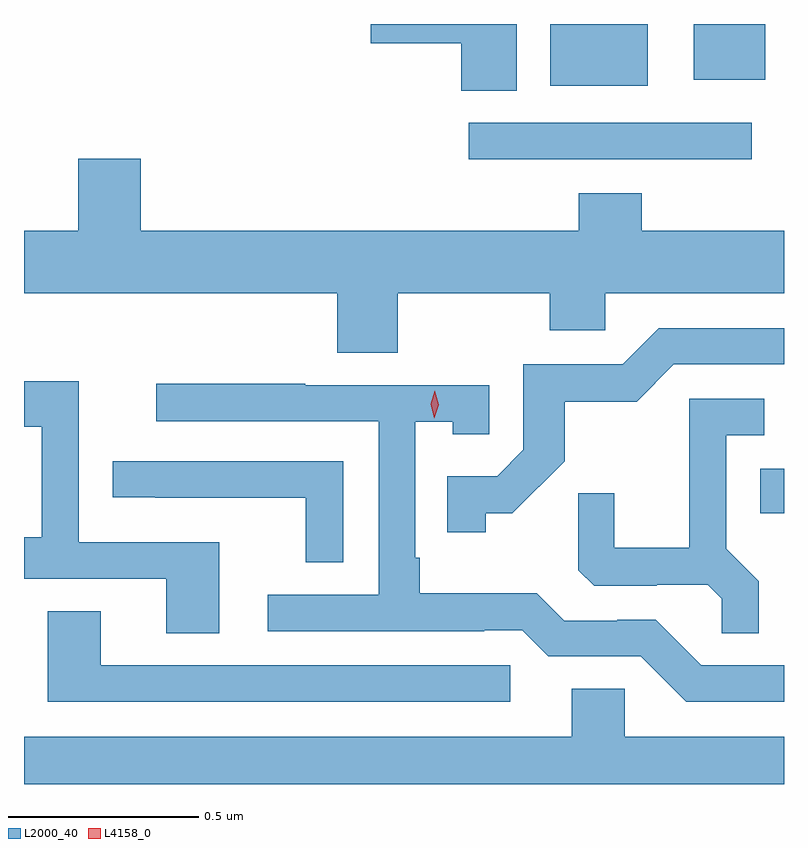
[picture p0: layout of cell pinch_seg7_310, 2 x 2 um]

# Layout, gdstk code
import gdstk
lib = gdstk.Library(unit=1e-6, precision=1e-09)
def R(c, l, rs):  # rectangles x0, y0, x1, y1
    for r in rs: c.add(gdstk.rectangle(r[:2], r[2:], *l))
def P(c, l, *ps):  # polygons
    for p in ps: c.add(gdstk.Polygon(p, *l))
L2000_40 = (2000, 40)
L4158_0 = (4158, 0)

pinch_seg7_310 = lib.new_cell('pinch_seg7_310')
R(pinch_seg7_310, L2000_40, [(562.406,1074.629,562.469,1074.745), (561.639,1075.56,562.384,1075.656), (561.854,1075.754,562.111,1075.916), (562.232,1075.769,562.42,1075.916)])
P(pinch_seg7_310, L2000_40, [(561.766,1075.916),(561.381,1075.916),(561.381,1075.865),(561.62,1075.865),(561.62,1075.741),(561.766,1075.741)],
  [(561.453,1075.208),(561.853,1075.208),(561.853,1075.11),(561.999,1075.11),(561.999,1075.208),(562.469,1075.208),(562.469,1075.372),(562.094,1075.372),(562.094,1075.471),(561.929,1075.471),(561.929,1075.372),(560.776,1075.372),(560.776,1075.561),(560.612,1075.561),(560.612,1075.372),(560.469,1075.372),(560.469,1075.208),(561.293,1075.208),(561.293,1075.051),(561.453,1075.051)],
  [(561.684,1074.629),(561.754,1074.629),(561.892,1074.766),(561.892,1074.922),(562.081,1074.922),(562.179,1075.02),(562.469,1075.02),(562.469,1075.116),(562.14,1075.116),(562.044,1075.02),(561.783,1075.02),(561.783,1074.795),(561.714,1074.726),(561.583,1074.726),(561.583,1074.579),(561.684,1074.579)],
  [(560.983,1074.552),(560.613,1074.552),(560.613,1074.976),(560.469,1074.976),(560.469,1074.856),(560.516,1074.856),(560.516,1074.565),(560.469,1074.565),(560.469,1074.456),(560.843,1074.456),(560.843,1074.313),(560.983,1074.313)],
  [(562.469,1074.228),(562.251,1074.228),(562.131,1074.348),(562.03,1074.348),(562.03,1074.345),(561.891,1074.345),(561.818,1074.418),(561.511,1074.418),(561.511,1074.511),(561.498,1074.511),(561.498,1074.869),(561.597,1074.869),(561.597,1074.837),(561.693,1074.837),(561.693,1074.966),(561.209,1074.966),(561.209,1074.969),(560.817,1074.969),(560.817,1074.87),(561.402,1074.87),(561.402,1074.414),(561.111,1074.414),(561.111,1074.318),(561.68,1074.318),(561.68,1074.321),(561.78,1074.321),(561.849,1074.252),(562.092,1074.252),(562.212,1074.132),(562.469,1074.132)],
  [(562.403,1074.449),(562.317,1074.535),(562.317,1074.834),(562.417,1074.834),(562.417,1074.93),(562.22,1074.93),(562.22,1074.538),(562.022,1074.538),(562.022,1074.681),(561.928,1074.681),(561.928,1074.479),(561.969,1074.438),(562.134,1074.438),(562.134,1074.441),(562.268,1074.441),(562.305,1074.404),(562.305,1074.313),(562.403,1074.313)],
  [(561.309,1074.765),(560.703,1074.765),(560.703,1074.67),(560.815,1074.67),(560.815,1074.669),(561.211,1074.669),(561.211,1074.499),(561.309,1074.499)],
  [(561.748,1074.228),(560.671,1074.228),(560.671,1074.371),(560.531,1074.371),(560.531,1074.132),(561.748,1074.132)],
  [(560.469,1073.916),(562.469,1073.916),(562.469,1074.04),(562.05,1074.04),(562.05,1074.167),(561.911,1074.167),(561.911,1074.04),(560.469,1074.04)])
P(pinch_seg7_310, L4158_0, [(561.549,1074.878),(561.549,1074.879),(561.54,1074.915),(561.55,1074.951),(561.55,1074.951),(561.55,1074.951),(561.56,1074.914),(561.549,1074.879)])

lib.write_gds('pinch_seg7_310.gds')
